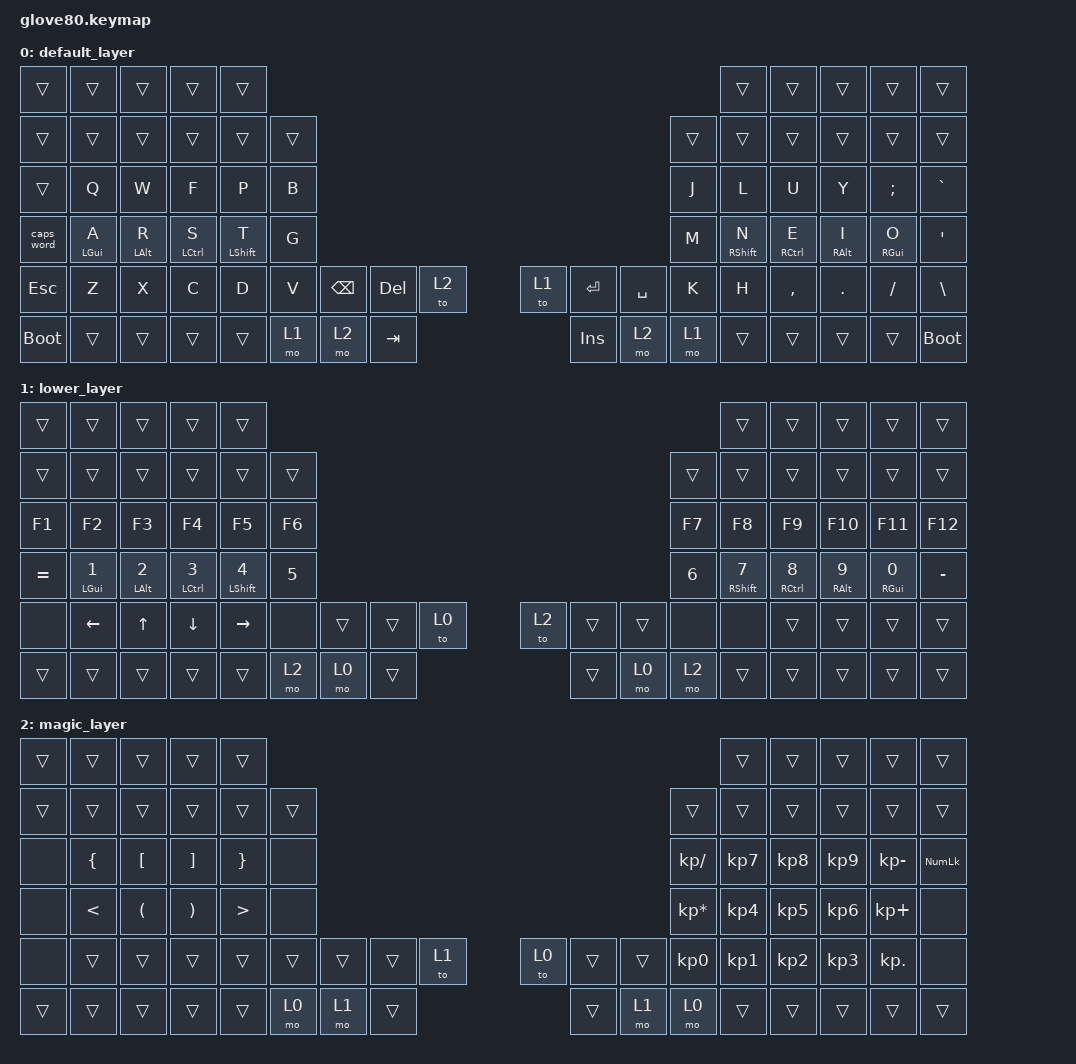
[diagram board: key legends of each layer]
/*
 * Copyright (c) 2020 The ZMK Contributors
 *
 * SPDX-License-Identifier: MIT
 */
#include <behaviors.dtsi>
//#include <dt-bindings/zmk/bt.h>
#include <dt-bindings/zmk/keys.h>
//#include <dt-bindings/zmk/outputs.h>
//#include <dt-bindings/zmk/rgb.h>

#include "../../zmk-helpers/helper.h"
#include "../../zmk-helpers/keypos_def/keypos_glv80.h"

#define KEYS_L LT0 LT1 LT2 LT3 LT4 LT5 LM0 LM1 LM2 LM3 LM4 LM5 LB1 LB2 LB3 LB4 LB5
#define KEYS_R RT0 RT1 RT2 RT3 RT4 RT5 RM0 RM1 RM2 RM3 RM4 RM5 RB1 RB2 RB3 RB4 RB5
#define KEYS_T LH0 LH1 LH2 LH3 LH4 LH5 RH0 RH1 RH2 RH3 RH4 RH5


// layers

#define DEFAULT 0
#define LOWER 1
#define MAGIC 2

ZMK_BEHAVIOR(hrm, hold_tap,
flavor = "balanced";
tapping-term-ms = <280>;
quick-tap-ms = <125>;
bindings = <&kp>, <&kp>;
)


ZMK_LAYER(default_layer, &trans      &trans  &trans  &trans  &trans                                                                                  &trans  &trans     &trans   &trans    &trans
&trans      &trans  &trans  &trans  &trans  &trans                                                               &trans  &trans  &trans     &trans   &trans       &trans
&trans      &kp Q   &kp W   &kp F   &kp P   &kp B                                                                &kp J   &kp L   &kp U      &kp Y    &kp SEMI     &kp GRAVE
&caps_word  &hrm LGUI A &hrm LALT R &hrm LCTRL S &hrm LSHIFT T &kp G                &kp M &hrm RSHIFT N &hrm RCTRL E &hrm RALT I    &hrm RGUI O     &kp SQT
&kp ESC     &kp Z   &kp X   &kp C   &kp D   &kp V   &kp BACKSPACE  &kp DEL  &to 2    &to 1  &kp ENTER  &kp SPACE  &kp K   &kp H   &kp COMMA  &kp DOT  &kp FSLH  &kp BSLH
&bootloader   &trans  &trans  &trans  &trans          &mo 1  &mo 2   &kp TAB    &kp INSERT   &mo 2  &mo 1              &trans  &trans     &trans   &trans    &bootloader
)

ZMK_LAYER(lower_layer, &trans      &trans  &trans  &trans  &trans                                                                                  &trans  &trans     &trans   &trans    &trans
&trans      &trans  &trans  &trans  &trans  &trans                                                                  &trans  &trans  &trans     &trans   &trans    &trans
&kp F1      &kp F2  &kp F3  &kp F4  &kp F5  &kp F6                                                                  &kp F7  &kp F8  &kp F9     &kp F10  &kp F11   &kp F12
&kp EQUAL   &hrm LGUI N1 &hrm LALT N2 &hrm LCTRL N3 &hrm LSHIFT N4  &kp N5       &kp N6  &hrm RSHIFT N7 &hrm RCTRL N8 &hrm RALT N9 &hrm RGUI N0    &kp MINUS
&none   &kp LEFT &kp UP  &kp DOWN &kp RIGHT &none       &trans     &trans   &to 0    &to 2  &trans     &trans     &none   &none   &trans      &trans    &trans     &trans
&trans      &trans  &trans  &trans  &trans              &mo 2  &mo 0   &trans    &trans  &mo 0     &mo 2              &trans  &trans     &trans   &trans    &trans
)

ZMK_LAYER(magic_layer,
&trans      &trans    &trans    &trans    &trans                                                                              &trans   &trans   &trans    &trans    &trans
&trans      &trans    &trans    &trans    &trans    &trans                                                  &trans          &trans   &trans    &trans    &trans      &trans
&none       &kp LBRC  &kp LBKT  &kp RBKT  &kp RBRC  &none                                                   &kp KP_DIVIDE   &kp KP_N7 &kp KP_N8  &kp KP_N9  &kp KP_MINUS &kp KP_NUMLOCK
&none       &kp LT    &kp LPAR  &kp RPAR  &kp GT    &none                                                   &kp KP_MULTIPLY &kp KP_N4 &kp KP_N5  &kp KP_N6  &kp KP_PLUS  &none
&none       &trans     &trans     &trans     &trans     &trans   &trans     &trans   &to 1    &to 0  &trans    &trans    &kp KP_N0    &kp KP_N1   &kp KP_N2   &kp KP_N3  &kp KP_DOT          &none
&trans      &trans    &trans    &trans    &trans            &mo 0      &mo 1    &trans   &trans  &mo 1    &mo 0             &trans   &trans    &trans    &trans    &trans
)
